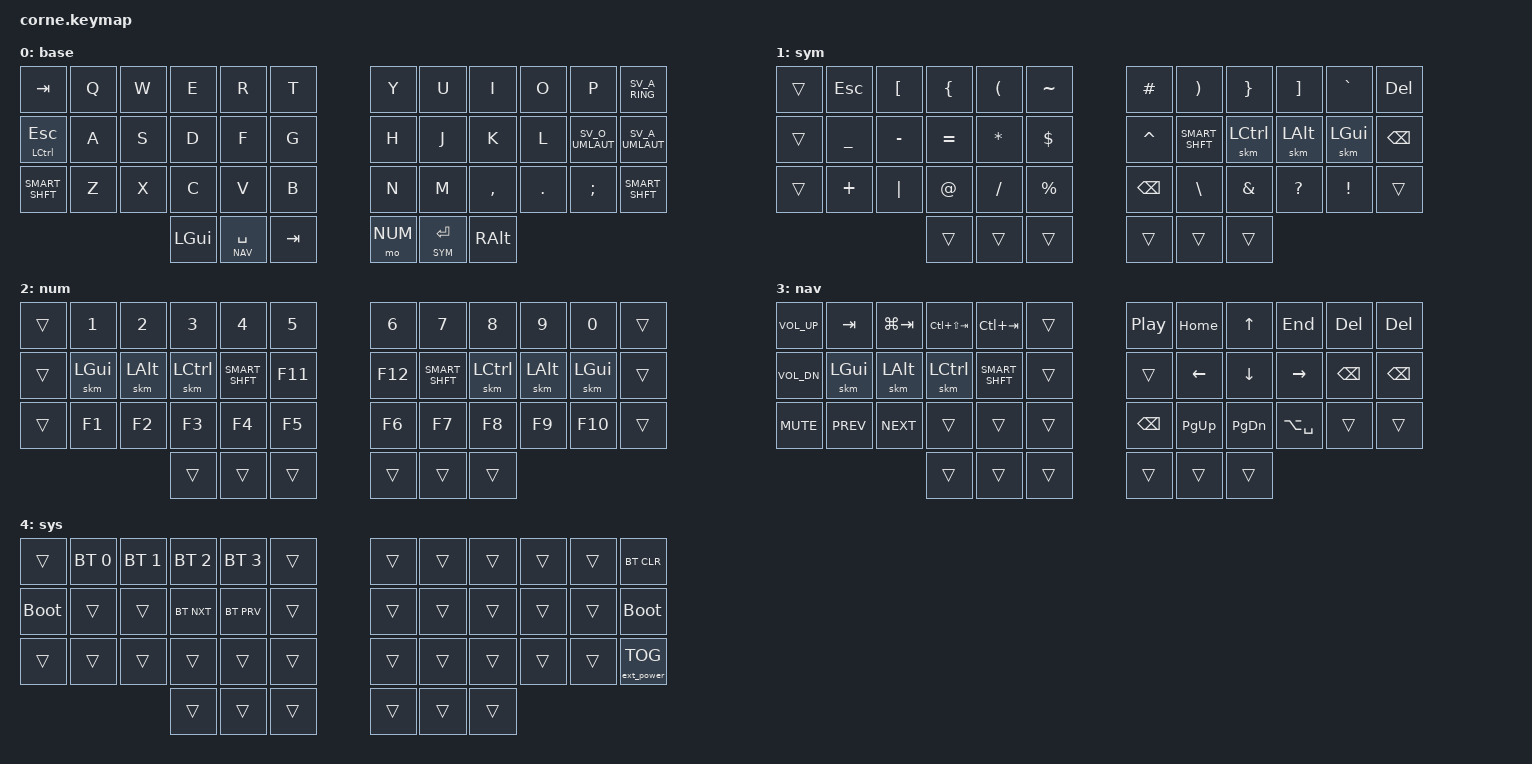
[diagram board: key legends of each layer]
#include <behaviors.dtsi>
#include <dt-bindings/zmk/keys.h>
#include <dt-bindings/zmk/bt.h>
#include <dt-bindings/zmk/ext_power.h>

#include "helper.h"
#include "svkeys.h"
#include "keypos.h"

/*
 +--------------------+
 | DEFINITIONS        |
 +--------------------+
*/

#define KEYS_L LT0 LT1 LT2 LT3 LT4 LT5 LM0 LM1 LM2 LM3 LM4 LM5 LB0 LB1 LB2 LB3 LB4 LB5
#define KEYS_R RT0 RT1 RT2 RT3 RT4 RT5 RM0 RM1 RM2 RM3 RM4 RM5 RB0 RB1 RB2 RB3 RB4 RB5
#define THUMBS LH2 LH1 LH0 RH0 RH1 RH2

#define XXX &none
#define ___ &trans

#define DEF 0
#define SYM 1
#define NUM 2
#define NAV 3
#define SYS 4

#define RIGHT_TAB &kp LC(LS(TAB))
#define LEFT_TAB &kp LC(TAB)
#define SWAP_LANG &kp LA(SPACE)
#define SWAP_WIN &kp LG(TAB)
#define PLAY_PAUSE &kp C_PLAY_PAUSE
#define FWD &kp C_NEXT
#define BACK &kp C_PREV
#define VOL_UP &kp C_VOL_UP
#define VOL_DN &kp C_VOL_DN
#define VOL_MUTE &kp C_MUTE
#define SV_AO &kp SV_A_RING
#define SV_AE &kp SV_A_UMLAUT
#define SV_OE &kp SV_O_UMLAUT
#define NAV_SPACE &lt NAV SPACE
#define SYM_RET &lt SYM RET
#define LC_ESC &mt LCTRL ESC
#define EXT_PWR_TOG &ext_power EP_TOG

/*
 +--------------------+
 | GLOBAL SETTINGS    |
 +--------------------+
*/

&sk {
    release-after-ms = <900>;
    quick-release;
};

ZMK_BEHAVIOR(skm, sticky_key,
    bindings = <&kp>;
    release-after-ms = <3000>;
    quick-release;
    /delete-property/ ignore-modifiers;
)

// tap: sticky-shift | shift + tap/ double-tap: caps-word | hold: shift
ZMK_BEHAVIOR(SMART_SHFT, mod_morph,
    bindings = <&sk LSHFT>, <&caps_word>;
    mods = <(MOD_LSFT)>;
)
&caps_word {
    /delete-property/ ignore-modifiers;
};

/*
 +--------------------+
 | KEYMAP             |
 +--------------------+
*/

 // NAV + SYM -> SYS
ZMK_CONDITIONAL_LAYER(NAV SYM, SYS)

ZMK_LAYER(base,
// ╭─────────────┬─────────────┬────────────┬────────────┬────────────┬─────────────╮   ╭─────────────┬─────────────┬────────────┬────────────┬────────────┬─────────────╮
       &kp TAB       &kp Q        &kp W         &kp E        &kp R        &kp T             &kp Y         &kp U         &kp I        &kp O        &kp P        SV_AO
// ├─────────────┼─────────────┼────────────┼────────────┼────────────┤─────────────┤   ├─────────────┼─────────────┼────────────┼────────────┼────────────┼─────────────┤
       LC_ESC        &kp A        &kp S         &kp D        &kp F        &kp G             &kp H         &kp J         &kp K        &kp L        SV_OE        SV_AE
// ├─────────────┼─────────────┼────────────┼────────────┼────────────┤─────────────┤   ├─────────────┼─────────────┼────────────┼────────────┼────────────┤─────────────┤
     &SMART_SHFT     &kp Z        &kp X         &kp C        &kp V        &kp B             &kp N         &kp M        &kp COMMA     &kp DOT     &kp SEMI    &SMART_SHFT
// ╰─────────────┴─────────────┴────────────┼────────────┼────────────┼─────────────┤   ├─────────────┼─────────────┼────────────┼────────────┴────────────┴─────────────╯
                                               &kp LGUI     NAV_SPACE     &kp TAB           &mo NUM       SYM_RET      &kp RALT
//                                          ╰────────────┴────────────┴─────────────╯   ╰─────────────┴─────────────┴────────────╯
)

ZMK_LAYER(sym,
// ╭─────────────┬─────────────┬────────────┬────────────┬────────────┬─────────────╮   ╭─────────────┬─────────────┬────────────┬────────────┬────────────┬─────────────╮
         ___        &kp ESC       &kp LBKT     &kp LBRC     &kp LPAR     &kp TILDE         &kp HASH      &kp RPAR      &kp RBRC     &kp RBKT     &kp GRAVE     &kp DEL
// ├─────────────┼─────────────┼────────────┼────────────┼────────────┤─────────────┤   ├─────────────┼─────────────┼────────────┼────────────┼────────────┤─────────────┤
         ___        &kp UNDER     &kp MINUS    &kp EQUAL    &kp ASTRK    &kp DOLLAR        &kp CARET    &SMART_SHFT   &skm LCTRL   &skm LALT    &skm LGUI     &kp BSPC
// ├─────────────┼─────────────┼────────────┼────────────┼────────────┤─────────────┤   ├─────────────┼─────────────┼────────────┼────────────┼────────────┤─────────────┤
         ___        &kp PLUS      &kp PIPE     &kp AT       &kp FSLH     &kp PRCNT         &kp BSPC      &kp BSLH      &kp AMPS     &kp QMARK    &kp EXCL        ___
// ╰─────────────┴─────────────┴────────────┼────────────┼────────────┼─────────────┤   ├─────────────┼─────────────┼────────────┼────────────┴────────────┴─────────────╯
                                                  ___          ___          ___               ___           ___         ___
//                                          ╰────────────┴────────────┴─────────────╯   ╰─────────────┴─────────────┴────────────╯
)

ZMK_LAYER(num,
// ╭─────────────┬─────────────┬────────────┬────────────┬────────────┬─────────────╮   ╭─────────────┬─────────────┬────────────┬────────────┬────────────┬─────────────╮
         ___         &kp N1       &kp N2       &kp N3       &kp N4      &kp N5             &kp N6        &kp N7        &kp N8       &kp N9       &kp N0          ___
// ├─────────────┼─────────────┼────────────┼────────────┼────────────┤─────────────┤   ├─────────────┼─────────────┼────────────┼────────────┼────────────┤─────────────┤
         ___        &skm LGUI    &skm LALT    &skm LCTRL   &SMART_SHFT  &kp F11            &kp F12      &SMART_SHFT   &skm LCTRL    &skm LALT    &skm LGUI       ___
// ├─────────────┼─────────────┼────────────┼────────────┼────────────┤─────────────┤   ├─────────────┼─────────────┼────────────┼────────────┼────────────┤─────────────┤
         ___         &kp F1       &kp F2       &kp F3       &kp F4      &kp F5             &kp F6        &kp F7        &kp F8       &kp F9       &kp F10         ___
// ╰─────────────┴─────────────┴────────────┼────────────┼────────────┼─────────────┤   ├─────────────┼─────────────┼────────────┼────────────┴────────────┴─────────────╯
                                                  ___          ___          ___               ___           ___          ___
//                                          ╰────────────┴────────────┴─────────────╯   ╰─────────────┴─────────────┴────────────╯
)

ZMK_LAYER(nav,
// ╭─────────────┬─────────────┬────────────┬────────────┬────────────┬─────────────╮   ╭─────────────┬─────────────┬────────────┬────────────┬────────────┬─────────────╮
       VOL_UP        &kp TAB      SWAP_WIN    RIGHT_TAB     LEFT_TAB        ___            PLAY_PAUSE    &kp HOME       &kp UP     &kp END       &kp DEL      &kp DEL
// ├─────────────┼─────────────┼────────────┼────────────┼────────────┤─────────────┤   ├─────────────┼─────────────┼────────────┼────────────┼────────────┤─────────────┤
       VOL_DN       &skm LGUI    &skm LALT    &skm LCTRL   &SMART_SHFT      ___               ___        &kp LEFT      &kp DOWN    &kp RIGHT     &kp BSPC     &kp BSPC
// ├─────────────┼─────────────┼────────────┼────────────┼────────────┤─────────────┤   ├─────────────┼─────────────┼────────────┼────────────┼────────────┤─────────────┤
      VOL_MUTE         BACK         FWD           ___          ___          ___            &kp BSPC      &kp PG_UP     &kp PG_DN   SWAP_LANG       ___          ___
// ╰─────────────┴─────────────┴────────────┼────────────┼────────────┼─────────────┤   ├─────────────┼─────────────┼────────────┼────────────┴────────────┴─────────────╯
                                                  ___          ___          ___               ___           ___          ___
//                                          ╰────────────┴────────────┴─────────────╯   ╰─────────────┴─────────────┴────────────╯
)

ZMK_LAYER(sys,
// ╭─────────────┬─────────────┬────────────┬────────────┬────────────┬─────────────╮   ╭─────────────┬─────────────┬────────────┬────────────┬────────────┬─────────────╮
         ___      &bt BT_SEL 0  &bt BT_SEL 1 &bt BT_SEL 2 &bt BT_SEL 3      ___               ___           ___          ___           ___          ___      &bt BT_CLR
// ├─────────────┼─────────────┼────────────┼────────────┼────────────┤─────────────┤   ├─────────────┼─────────────┼────────────┼────────────┼────────────┤─────────────┤
     &bootloader       ___          ___       &bt BT_NXT   &bt BT_PRV       ___               ___           ___          ___           ___          ___      &bootloader
// ├─────────────┼─────────────┼────────────┼────────────┼────────────┤─────────────┤   ├─────────────┼─────────────┼────────────┼────────────┼────────────┤─────────────┤
         ___           ___          ___           ___          ___          ___               ___           ___          ___           ___          ___      EXT_PWR_TOG
// ╰─────────────┴─────────────┴────────────┼────────────┼────────────┼─────────────┤   ├─────────────┼─────────────┼────────────┼────────────┴────────────┴─────────────╯
                                                  ___          ___          ___               ___           ___          ___
//                                          ╰────────────┴────────────┴─────────────╯   ╰─────────────┴─────────────┴────────────╯
)
